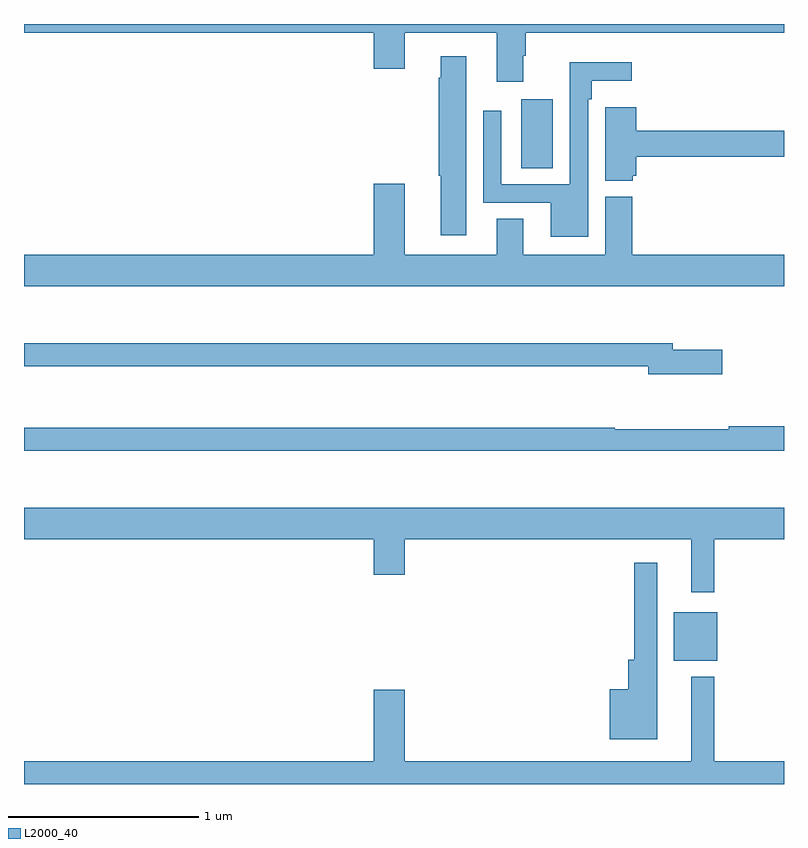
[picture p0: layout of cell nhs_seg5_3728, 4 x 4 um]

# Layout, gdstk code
import gdstk
lib = gdstk.Library(unit=1e-6, precision=1e-09)
def R(c, l, rs):  # rectangles x0, y0, x1, y1
    for r in rs: c.add(gdstk.rectangle(r[:2], r[2:], *l))
def P(c, l, *ps):  # polygons
    for p in ps: c.add(gdstk.Polygon(p, *l))
L2000_40 = (2000, 40)

nhs_seg5_3728 = lib.new_cell('nhs_seg5_3728')
R(nhs_seg5_3728, L2000_40, [(334.421,861.449,334.648,861.703), (333.617,864.04,333.784,864.403)])
P(nhs_seg5_3728, L2000_40, [(333.628,864.632),(333.641,864.632),(333.641,864.752),(335,864.752),(335,864.799),(331,864.799),(331,864.752),(332.84,864.752),(332.84,864.564),(333.004,864.564),(333.004,864.752),(333.488,864.752),(333.488,864.495),(333.628,864.495)],
  [(333.328,864.628),(333.194,864.628),(333.194,864.515),(333.182,864.515),(333.182,864),(333.194,864),(333.194,863.688),(333.328,863.688)],
  [(333.969,864.404),(333.989,864.404),(333.989,864.5),(334.198,864.5),(334.198,864.598),(333.873,864.598),(333.873,863.955),(333.513,863.955),(333.513,864.343),(333.417,864.343),(333.417,863.859),(333.773,863.859),(333.773,863.678),(333.969,863.678)],
  [(334.203,864),(334.222,864),(334.222,864.1),(335,864.1),(335,864.236),(334.222,864.236),(334.222,864.361),(334.058,864.361),(334.058,863.975),(334.203,863.975)],
  [(335,863.584),(334.202,863.584),(334.202,863.89),(334.058,863.89),(334.058,863.584),(333.628,863.584),(333.628,863.774),(333.488,863.774),(333.488,863.584),(333.004,863.584),(333.004,863.959),(332.84,863.959),(332.84,863.584),(331,863.584),(331,863.42),(335,863.42)],
  [(334.675,863.085),(334.414,863.085),(334.414,863.119),(331,863.119),(331,862.998),(334.286,862.998),(334.286,862.955),(334.675,862.955)],
  [(335,862.682),(334.708,862.682),(334.708,862.667),(334.108,862.667),(334.108,862.675),(331,862.675),(331,862.554),(335,862.554)],
  [(334.633,862.088),(335,862.088),(335,862.252),(331,862.252),(331,862.088),(332.84,862.088),(332.84,861.9),(333.004,861.9),(333.004,862.088),(334.511,862.088),(334.511,861.807),(334.633,861.807)],
  [(334.333,861.964),(334.212,861.964),(334.212,861.454),(334.181,861.454),(334.181,861.298),(334.082,861.298),(334.082,861.035),(334.333,861.035)],
  [(335,860.92),(334.633,860.92),(334.633,861.364),(334.511,861.364),(334.511,860.92),(333.004,860.92),(333.004,861.295),(332.84,861.295),(332.84,860.92),(331,860.92),(331,860.799),(335,860.799)])

lib.write_gds('nhs_seg5_3728.gds')
